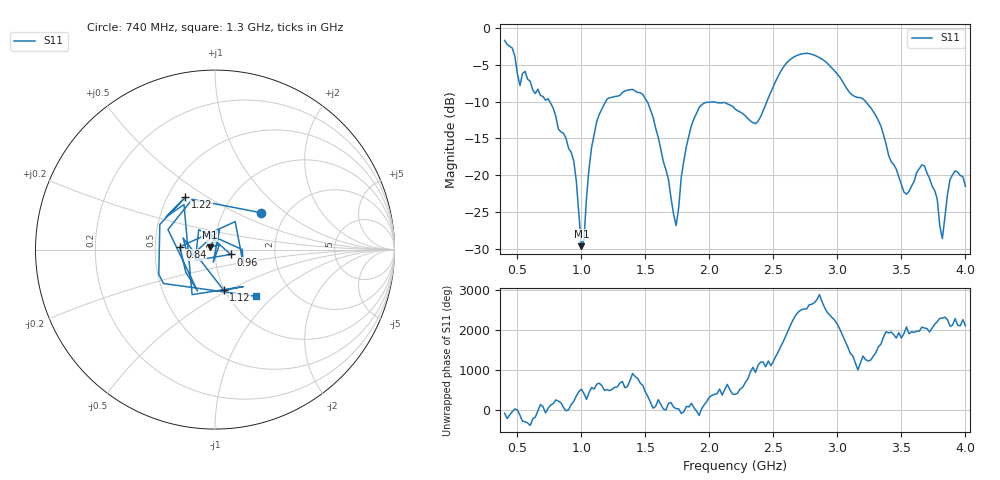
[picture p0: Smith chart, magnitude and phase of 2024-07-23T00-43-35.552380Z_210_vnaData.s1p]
!Created with skrf (http://scikit-rf.org).
# Hz S RI R 50.0
!freq ReS11 ImS11
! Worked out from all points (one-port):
!   181 points, 400 MHz to 4 GHz, reference 50 ohm
!   lowest |S11| = -29.7 dB at 1 GHz (marker M1), VSWR 1.07, Z = 47 + j1.19 ohm
!   |S11| at or under -10 dB: 752.2 MHz to 1.19 GHz (437.6 MHz wide, 45.1 % of centre); 1.513 GHz to 2.449 GHz (936.3 MHz wide, 47.3 % of centre); 3.221 GHz to end of sweep
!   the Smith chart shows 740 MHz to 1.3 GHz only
!   S11 on the Smith chart (normalised r, x): 740 MHz: 1.51, +0.69; 840 MHz: 0.67, +0.02; 960 MHz: 1.19, -0.06; 1.12 GHz: 0.99, -0.47; 1.22 GHz: 0.62, +0.40; 1.3 GHz: 1.33, -0.79
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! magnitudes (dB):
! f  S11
! 400 MHz  -1.7
! 520 MHz  -7.8
! 560 MHz  -5.9
! 740 MHz  -9.6
! 840 MHz  -14.1
! 860 MHz  -14.3
! 960 MHz  -20.8
! 1 GHz  -29.7
! 1.12 GHz  -12.7
! 1.22 GHz  -9.5
! 1.3 GHz  -9.2
! 1.52 GHz  -10.2
! 1.74 GHz  -26.9
! 1.76 GHz  -24.5
! 1.82 GHz  -16.1
! 1.92 GHz  -10.8
! 2.2 GHz  -11.0
! 2.36 GHz  -13.0
! 2.66 GHz  -3.9
! 2.88 GHz  -4.2
! 3.1 GHz  -8.9
! 3.3 GHz  -11.9
! 3.56 GHz  -22.2
! 3.68 GHz  -18.7
! 3.78 GHz  -23.3
! 3.82 GHz  -28.6
! 3.88 GHz  -20.6
! 4 GHz  -21.5
